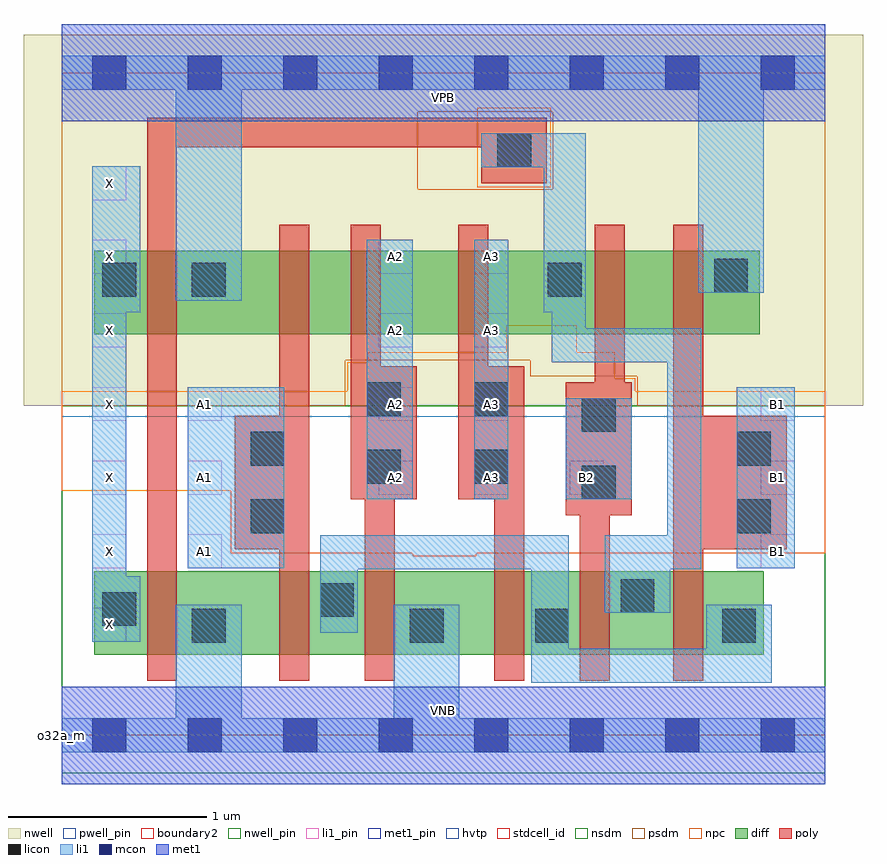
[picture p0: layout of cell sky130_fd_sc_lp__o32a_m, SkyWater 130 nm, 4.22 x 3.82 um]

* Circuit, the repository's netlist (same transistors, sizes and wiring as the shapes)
* Copyright 2020 The SkyWater PDK Authors
*
* Licensed under the Apache License, Version 2.0 (the "License");
* you may not use this file except in compliance with the License.
* You may obtain a copy of the License at
*
*     https://www.apache.org/licenses/LICENSE-2.0
*
* Unless required by applicable law or agreed to in writing, software
* distributed under the License is distributed on an "AS IS" BASIS,
* WITHOUT WARRANTIES OR CONDITIONS OF ANY KIND, either express or implied.
* See the License for the specific language governing permissions and
* limitations under the License.
*
* SPDX-License-Identifier: Apache-2.0

.SUBCKT sky130_fd_sc_lp__o32a_m A1 A2 A3 B1 B2 VGND VNB VPB VPWR X
*.PININFO A1:I A2:I A3:I B1:I B2:I VGND:I VNB:I VPB:I VPWR:I X:O
MMPA0 VPWR A1 sndA1 VPB sky130_fd_pr__pfet_01v8_hvt m=1 w=0.42U l=0.15U mult=1
+ sa=0.265 sb=0.265 sd=0.28 area=0.063 perim=1.14
MMPA1 sndA1 A2 sndA2 VPB sky130_fd_pr__pfet_01v8_hvt m=1 w=0.42U l=0.15U mult=1
+ sa=0.265 sb=0.265 sd=0.28 area=0.063 perim=1.14
MMPA2 sndA2 A3 y VPB sky130_fd_pr__pfet_01v8_hvt m=1 w=0.42U l=0.15U mult=1 sa=0.265
+ sb=0.265 sd=0.28 area=0.063 perim=1.14
MMPB0 VPWR B1 sndB1 VPB sky130_fd_pr__pfet_01v8_hvt m=1 w=0.42U l=0.15U mult=1
+ sa=0.265 sb=0.265 sd=0.28 area=0.063 perim=1.14
MMPB1 sndB1 B2 y VPB sky130_fd_pr__pfet_01v8_hvt m=1 w=0.42U l=0.15U mult=1 sa=0.265
+ sb=0.265 sd=0.28 area=0.063 perim=1.14
MMIPX X y VPWR VPB sky130_fd_pr__pfet_01v8_hvt m=1 w=0.42U l=0.15U mult=1 sa=0.265
+ sb=0.265 sd=0.28 area=0.063 perim=1.14
MMNA0 pndA A1 VGND VNB sky130_fd_pr__nfet_01v8 m=1 w=0.42U l=0.15U mult=1 sa=0.265
+ sb=0.265 sd=0.28 area=0.063 perim=1.14
MMNA1 pndA A2 VGND VNB sky130_fd_pr__nfet_01v8 m=1 w=0.42U l=0.15U mult=1 sa=0.265
+ sb=0.265 sd=0.28 area=0.063 perim=1.14
MMNA2 pndA A3 VGND VNB sky130_fd_pr__nfet_01v8 m=1 w=0.42U l=0.15U mult=1 sa=0.265
+ sb=0.265 sd=0.28 area=0.063 perim=1.14
MMNB0 y B1 pndA VNB sky130_fd_pr__nfet_01v8 m=1 w=0.42U l=0.15U mult=1 sa=0.265
+ sb=0.265 sd=0.28 area=0.063 perim=1.14
MMNB1 y B2 pndA VNB sky130_fd_pr__nfet_01v8 m=1 w=0.42U l=0.15U mult=1 sa=0.265
+ sb=0.265 sd=0.28 area=0.063 perim=1.14
MMINX X y VGND VNB sky130_fd_pr__nfet_01v8 m=1 w=0.42U l=0.15U mult=1 sa=0.265
+ sb=0.265 sd=0.28 area=0.063 perim=1.14
.ENDS sky130_fd_sc_lp__o32a_m

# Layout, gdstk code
import gdstk
lib = gdstk.Library(unit=1e-6, precision=1e-09)
def R(c, l, rs):  # rectangles x0, y0, x1, y1
    for r in rs: c.add(gdstk.rectangle(r[:2], r[2:], *l))
def A(c, l, x, y, w, h, nx, ny, dx, dy):  # array of equal rectangles
    R(c, l, [(x+i*dx, y+j*dy, x+i*dx+w, y+j*dy+h) for i in range(nx) for j in range(ny)])
def P(c, l, *ps):  # polygons
    for p in ps: c.add(gdstk.Polygon(p, *l))
nwell_pin = (64, 16)
nwell = (64, 20)
diff = (65, 20)
poly = (66, 20)
licon = (66, 44)
li1_pin = (67, 16)
li1 = (67, 20)
mcon = (67, 44)
met1_pin = (68, 16)
met1 = (68, 20)
hvtp = (78, 44)
stdcell_id = (81, 4)
nsdm = (93, 44)
psdm = (94, 20)
npc = (95, 20)
pwell_pin = (122, 16)
boundary2 = (236, 0)

sky130_fd_sc_lp__o32a_m = lib.new_cell('sky130_fd_sc_lp__o32a_m')
R(sky130_fd_sc_lp__o32a_m, nwell_pin, [(0,3.085,3.84,3.33)])
R(sky130_fd_sc_lp__o32a_m, nwell, [(-0.19,1.655,4.03,3.52)])
R(sky130_fd_sc_lp__o32a_m, diff, [(0.165,0.405,3.53,0.825), (0.165,2.015,3.51,2.435)])
P(sky130_fd_sc_lp__o32a_m, poly, [(1.245,2.565),(1.095,2.565),(1.095,1.605),(0.87,1.605),(0.87,0.935),(1.095,0.935),(1.095,0.275),(1.245,0.275)],
  [(1.785,1.855),(1.605,1.855),(1.605,2.565),(1.455,2.565),(1.455,1.185),(1.525,1.185),(1.525,0.275),(1.675,0.275),(1.675,1.185),(1.785,1.185)],
  [(2.325,1.855),(2.145,1.855),(2.145,2.565),(1.995,2.565),(1.995,1.185),(2.175,1.185),(2.175,0.275),(2.325,0.275)],
  [(2.44,3.105),(0.43,3.105),(0.43,0.275),(0.58,0.275),(0.58,2.955),(2.11,2.955),(2.11,2.775),(2.44,2.775)],
  [(2.865,1.775),(2.83,1.775),(2.83,2.565),(2.68,2.565),(2.68,1.775),(2.535,1.775),(2.535,1.105),(2.605,1.105),(2.605,0.275),(2.755,0.275),(2.755,1.105),(2.865,1.105)],
  [(3.645,1.605),(3.225,1.605),(3.225,2.565),(3.075,2.565),(3.075,0.275),(3.225,0.275),(3.225,0.935),(3.645,0.935)])
R(sky130_fd_sc_lp__o32a_m, licon, [(0.655,0.465,0.825,0.635), (1.75,0.465,1.92,0.635), (2.38,0.465,2.55,0.635), (3.32,0.465,3.49,0.635), (0.205,0.55,0.375,0.72), (1.3,0.595,1.47,0.765), (2.81,0.615,2.98,0.785), (0.95,1.015,1.12,1.185), (3.395,1.015,3.565,1.185), (2.615,1.185,2.785,1.355), (1.535,1.265,1.705,1.435), (2.075,1.265,2.245,1.435), (0.95,1.355,1.12,1.525), (3.395,1.355,3.565,1.525), (2.615,1.525,2.785,1.695), (1.535,1.605,1.705,1.775), (2.075,1.605,2.245,1.775), (0.205,2.205,0.375,2.375), (0.655,2.205,0.825,2.375), (2.445,2.205,2.615,2.375), (3.28,2.225,3.45,2.395), (2.19,2.855,2.36,3.025)])
A(sky130_fd_sc_lp__o32a_m, li1_pin, 0.155, 0.47, 0.17, 0.17, 1, 7, 0, 0.37)
A(sky130_fd_sc_lp__o32a_m, li1_pin, 0.635, 0.84, 0.17, 0.17, 1, 3, 0, 0.37)
A(sky130_fd_sc_lp__o32a_m, li1_pin, 3.515, 0.84, 0.17, 0.17, 1, 3, 0, 0.37)
A(sky130_fd_sc_lp__o32a_m, li1_pin, 1.595, 1.21, 0.17, 0.17, 3, 1, 0.48, 0)
A(sky130_fd_sc_lp__o32a_m, li1_pin, 1.595, 1.58, 0.17, 0.17, 1, 3, 0, 0.37)
A(sky130_fd_sc_lp__o32a_m, li1_pin, 2.075, 1.58, 0.17, 0.17, 1, 3, 0, 0.37)
R(sky130_fd_sc_lp__o32a_m, li1, [(0.635,0.84,1.12,1.75), (3.395,0.84,3.685,1.75), (1.535,1.185,1.765,2.49), (2.075,1.185,2.245,2.49), (2.535,1.185,2.865,1.695)])
P(sky130_fd_sc_lp__o32a_m, li1, [(3.2,2.225),(3.2,3.245),(0.905,3.245),(0.905,2.185),(0.575,2.185),(0.575,3.245),(0,3.245),(0,3.415),(3.84,3.415),(3.84,3.245),(3.53,3.245),(3.53,2.225)],
  [(1.67,0.085),(1.67,0.655),(2,0.655),(2,0.085),(3.84,0.085),(3.84,-0.085),(0,-0.085),(0,0.085),(0.575,0.085),(0.575,0.655),(0.905,0.655),(0.905,0.085)],
  [(2.425,2.855),(2.11,2.855),(2.11,3.025),(2.635,3.025),(2.635,2.045),(3.215,2.045),(3.215,0.835),(3.06,0.835),(3.06,0.615),(2.73,0.615),(2.73,1.005),(3.045,1.005),(3.045,1.875),(2.465,1.875),(2.465,2.125),(2.425,2.125)],
  [(0.155,0.47),(0.155,2.86),(0.395,2.86),(0.395,2.125),(0.325,2.125),(0.325,0.8),(0.395,0.8),(0.395,0.47)],
  [(2.36,0.265),(2.36,0.835),(1.49,0.835),(1.49,0.515),(1.3,0.515),(1.3,1.005),(2.55,1.005),(2.55,0.435),(3.24,0.435),(3.24,0.655),(3.57,0.655),(3.57,0.265)])
A(sky130_fd_sc_lp__o32a_m, mcon, 0.155, -0.085, 0.17, 0.17, 8, 2, 0.48, 3.33)
R(sky130_fd_sc_lp__o32a_m, met1_pin, [(0,0,3.84,0.245), (0,3.085,3.84,3.33)])
R(sky130_fd_sc_lp__o32a_m, met1, [(0,-0.245,3.84,0.245), (0,3.085,3.84,3.575)])
R(sky130_fd_sc_lp__o32a_m, hvtp, [(0,1.6,3.84,3.33)])
R(sky130_fd_sc_lp__o32a_m, stdcell_id, [(0,0,3.84,3.33)])
R(sky130_fd_sc_lp__o32a_m, nsdm, [(0,-0.19,3.84,1.655)])
P(sky130_fd_sc_lp__o32a_m, psdm, [(3.84,3.52),(2.47,3.52),(2.47,2.745),(1.79,2.745),(1.79,3.135),(2.47,3.135),(2.47,3.52),(0,3.52),(0,1.655),(1.425,1.655),(1.425,1.885),(2.355,1.885),(2.355,1.805),(2.895,1.805),(2.895,1.655),(3.84,1.655)])
R(sky130_fd_sc_lp__o32a_m, npc, [(2.09,2.755,2.46,3.155)])
P(sky130_fd_sc_lp__o32a_m, npc, [(3.84,1.73),(2.885,1.73),(2.885,1.795),(2.78,1.795),(2.78,1.925),(2.59,1.925),(2.59,2.06),(2.235,2.06),(2.235,1.925),(1.54,1.925),(1.54,1.875),(1.435,1.875),(1.435,1.73),(0,1.73),(0,1.23),(0.85,1.23),(0.85,0.915),(1.765,0.915),(1.765,0.9),(2.085,0.9),(2.085,0.915),(3.84,0.915)])
R(sky130_fd_sc_lp__o32a_m, pwell_pin, [(0,0,3.84,0.245)])
R(sky130_fd_sc_lp__o32a_m, boundary2, [(0,0,3.84,3.33)])
sky130_fd_sc_lp__o32a_m.add(gdstk.Label('VNB', (1.92,0.123), layer=64, texttype=59))
sky130_fd_sc_lp__o32a_m.add(gdstk.Label('VPB', (1.92,3.208), layer=64, texttype=5))
sky130_fd_sc_lp__o32a_m.add(gdstk.Label('o32a_m', (0,0), layer=83, texttype=44))
sky130_fd_sc_lp__o32a_m.add(gdstk.Label('VPWR', (1.92,3.208), layer=68, texttype=5))
sky130_fd_sc_lp__o32a_m.add(gdstk.Label('VGND', (1.92,0.123), layer=68, texttype=5))
sky130_fd_sc_lp__o32a_m.add(gdstk.Label('A1', (0.72,0.925), layer=67, texttype=5))
sky130_fd_sc_lp__o32a_m.add(gdstk.Label('A1', (0.72,1.295), layer=67, texttype=5))
sky130_fd_sc_lp__o32a_m.add(gdstk.Label('A1', (0.72,1.665), layer=67, texttype=5))
sky130_fd_sc_lp__o32a_m.add(gdstk.Label('A2', (1.68,1.295), layer=67, texttype=5))
sky130_fd_sc_lp__o32a_m.add(gdstk.Label('A2', (1.68,1.665), layer=67, texttype=5))
sky130_fd_sc_lp__o32a_m.add(gdstk.Label('A2', (1.68,2.035), layer=67, texttype=5))
sky130_fd_sc_lp__o32a_m.add(gdstk.Label('A2', (1.68,2.405), layer=67, texttype=5))
sky130_fd_sc_lp__o32a_m.add(gdstk.Label('A3', (2.16,1.295), layer=67, texttype=5))
sky130_fd_sc_lp__o32a_m.add(gdstk.Label('A3', (2.16,1.665), layer=67, texttype=5))
sky130_fd_sc_lp__o32a_m.add(gdstk.Label('A3', (2.16,2.035), layer=67, texttype=5))
sky130_fd_sc_lp__o32a_m.add(gdstk.Label('A3', (2.16,2.405), layer=67, texttype=5))
sky130_fd_sc_lp__o32a_m.add(gdstk.Label('B1', (3.6,0.925), layer=67, texttype=5))
sky130_fd_sc_lp__o32a_m.add(gdstk.Label('B1', (3.6,1.295), layer=67, texttype=5))
sky130_fd_sc_lp__o32a_m.add(gdstk.Label('B1', (3.6,1.665), layer=67, texttype=5))
sky130_fd_sc_lp__o32a_m.add(gdstk.Label('B2', (2.64,1.295), layer=67, texttype=5))
sky130_fd_sc_lp__o32a_m.add(gdstk.Label('X', (0.24,0.555), layer=67, texttype=5))
sky130_fd_sc_lp__o32a_m.add(gdstk.Label('X', (0.24,0.925), layer=67, texttype=5))
sky130_fd_sc_lp__o32a_m.add(gdstk.Label('X', (0.24,1.295), layer=67, texttype=5))
sky130_fd_sc_lp__o32a_m.add(gdstk.Label('X', (0.24,1.665), layer=67, texttype=5))
sky130_fd_sc_lp__o32a_m.add(gdstk.Label('X', (0.24,2.035), layer=67, texttype=5))
sky130_fd_sc_lp__o32a_m.add(gdstk.Label('X', (0.24,2.405), layer=67, texttype=5))
sky130_fd_sc_lp__o32a_m.add(gdstk.Label('X', (0.24,2.775), layer=67, texttype=5))

lib.write_gds('sky130_fd_sc_lp__o32a_m.gds')
